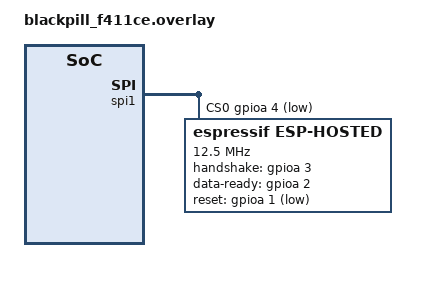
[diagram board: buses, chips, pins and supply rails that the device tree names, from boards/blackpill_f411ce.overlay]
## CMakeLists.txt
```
cmake_minimum_required(VERSION 3.25.0)

set(EXTRA_ZEPHYR_MODULES ${EXTRA_ZEPHYR_MODULES} ${CMAKE_CURRENT_SOURCE_DIR}/module)

find_package(Zephyr REQUIRED HINTS $ENV{ZEPHYR_BASE})

project(esp-hosted-4-zephyr)

add_subdirectory(src)
```

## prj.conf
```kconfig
CONFIG_DEBUG_OPTIMIZATIONS=y
CONFIG_LOG=y
CONFIG_NETWORKING=y
CONFIG_NET_SHELL=y
CONFIG_NET_L2_WIFI_SHELL=y
```

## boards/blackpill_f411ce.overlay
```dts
&spi1 {
    status = "okay";

    cs-gpios = <&gpioa 4 (GPIO_ACTIVE_LOW)>; /* PA4 */

    esp-hosted@0 {
        reg = <0>;
        compatible = "espressif,esp-hosted";
        spi-max-frequency = <12500000>;
        handshake-gpios = <&gpioa 3 (GPIO_ACTIVE_HIGH)>;
        data-ready-gpios = <&gpioa 2 (GPIO_ACTIVE_HIGH)>;
        reset-gpios = <&gpioa 1 (GPIO_ACTIVE_LOW)>;

        wifi {
            status = "okay";
            compatible = "espressif,esp-hosted-wifi";
        };

        hci {
            status = "okay";
            compatible = "espressif,hci-esp-hosted";
        };
    };
};
```

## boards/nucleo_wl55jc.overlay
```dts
&spi1 {
    status = "okay";
    cs-gpios = <&gpioa 4 (GPIO_ACTIVE_LOW)>; /* PB6 */

    wifi: esp-hosted@0 {
        reg = <0>;
        compatible = "espressif,esp-hosted";
        spi-max-frequency = <10000000>;
        handshake-gpios = <&gpioc 1 (GPIO_ACTIVE_HIGH)>;
        data-ready-gpios = <&gpiob 10 (GPIO_ACTIVE_HIGH)>;
        reset-gpios = <&gpiob 8 (GPIO_ACTIVE_LOW)>;
    };
};
```

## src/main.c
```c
#include <zephyr/kernel.h>

int main(void) {

    return 0;
}
```
